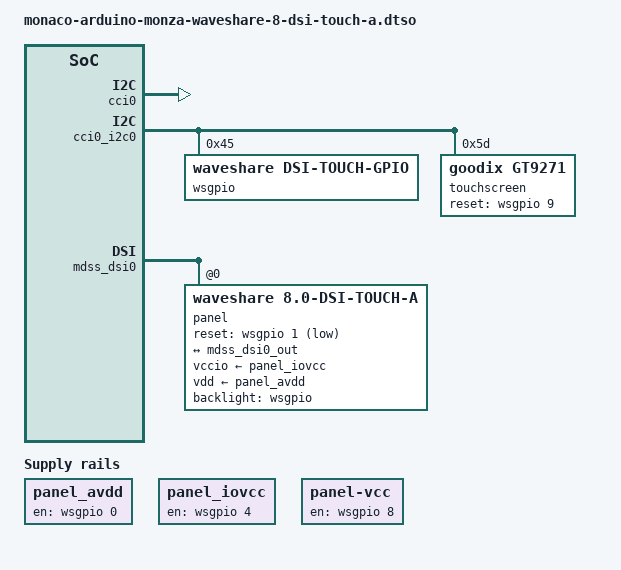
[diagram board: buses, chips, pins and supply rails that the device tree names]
// SPDX-License-Identifier: BSD-3-Clause
/*
 * Copyright (c) Qualcomm Technologies, Inc. and/or its subsidiaries.
 */

/dts-v1/;
/plugin/;

#include <dt-bindings/gpio/gpio.h>
#include <dt-bindings/clock/qcom,sa8775p-camcc.h>
#include <dt-bindings/interrupt-controller/arm-gic.h>

&{/} {
	panel_avdd: regulator-panel-avdd {
		compatible = "regulator-fixed";
		regulator-name = "panel-avdd";
		gpios = <&wsgpio 0 GPIO_ACTIVE_HIGH>;
		enable-active-high;
	};

	panel_iovcc: regulator-panel-iovcc {
		compatible = "regulator-fixed";
		regulator-name = "panel-iovcc";
		gpios = <&wsgpio 4 GPIO_ACTIVE_HIGH>;
		enable-active-high;
	};

	regulator-panel-vcc {
		compatible = "regulator-fixed";
		regulator-name = "panel-vcc";
		gpios = <&wsgpio 8 GPIO_ACTIVE_HIGH>;
		enable-active-high;
		regulator-always-on;
	};
};

/*
 * The panel's touch/GPIO-expander stack is hosted on the I2C exposed by the
 * CCI0 block (@0xac13000). That same block is used by the camera subsystem
 * for cam0. The two uses are mutually exclusive, so this overlay must FIRST
 * release CCI0 from the camera framework (disable the cam0 CCI0 master)
 * BEFORE enabling base &cci0 as a plain I2C bus further below.
 *
 * &cam_cci0 is referenced by path because the label is defined in
 * monaco-arduino-monza-camera.dtsi (used by the camera overlay), not in the
 * base DTB, and ufdt resolves &label only against the base DTB __symbols__.
 * The node only exists once the camera overlay is applied, so that overlay
 * must be applied first.
 */
&{/soc@0/qcom,cci0@ac13000} {
	status = "disabled";
};

&adv7535 {
	status = "disabled";
};

&cci0 {
	pinctrl-0 = <&cci0_i2c0_default>;
	pinctrl-1 = <&cci0_i2c0_sleep>;
	pinctrl-names = "default", "sleep";
	status = "okay";
};

&cci0_i2c0 {
	wsgpio: gpio@45 {
		compatible = "waveshare,dsi-touch-gpio";
		reg = <0x45>;
		gpio-controller;
		#gpio-cells = <2>;
	};

	touchscreen@5d {
		compatible = "goodix,gt9271";
		reg = <0x5d>;
		reset-gpios = <&wsgpio 9 GPIO_ACTIVE_HIGH>;
	};
};

&hdmi_connector {
	status = "disabled";
};

&hdmi_mi2s_playback_dai_link {
	status = "disabled";
};

&mdss_dsi0 {
	#address-cells = <1>;
	#size-cells = <0>;
	vdda-supply = <&vreg_l1c>;

	panel@0 {
		compatible = "waveshare,8.0-dsi-touch-a", "jadard,jd9365da-h3";
		reg = <0>;
		backlight = <&wsgpio>;
		reset-gpios = <&wsgpio 1 GPIO_ACTIVE_LOW>;
		vccio-supply = <&panel_iovcc>;
		vdd-supply = <&panel_avdd>;

		port {
			panel_in: endpoint {
				remote-endpoint = <&mdss_dsi0_out>;
			};
		};
	};
};

&mdss_dsi0_out {
	data-lanes = <0 1 2 3>;
	remote-endpoint = <&panel_in>;
};

&mdss_dsi0_phy {
	vdds-supply = <&vreg_l4a>;
};
